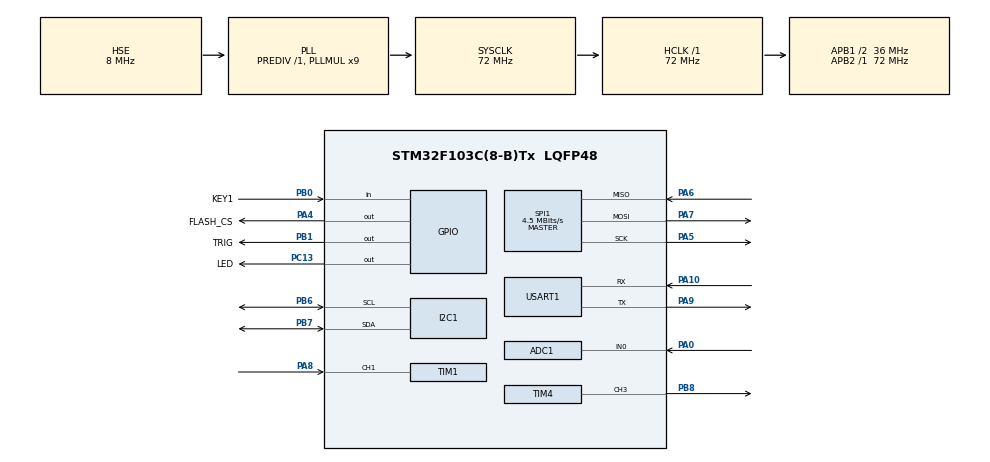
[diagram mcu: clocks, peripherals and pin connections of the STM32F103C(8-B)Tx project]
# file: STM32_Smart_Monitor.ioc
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ADC1.Channel-1\#ChannelRegularConversion=ADC_CHANNEL_0
ADC1.NbrOfConversionFlag=1
ADC1.Rank-1\#ChannelRegularConversion=1
ADC1.SamplingTime-1\#ChannelRegularConversion=ADC_SAMPLETIME_1CYCLE_5
ADC1.master=1
I2C1.I2C_Mode=I2C_Fast
Mcu.Family=STM32F1
Mcu.Name=STM32F103C(8-B)Tx
Mcu.Package=LQFP48
NVIC.PriorityGroup=NVIC_PRIORITYGROUP_4
NVIC.TIM1_CC_IRQn=true\:0\:0\:false\:false\:true\:true\:true\:true
NVIC.USART1_IRQn=true\:0\:0\:false\:false\:true\:true\:true\:true
PA0-WKUP.Signal=ADCx_IN0
PA10.Mode=Asynchronous
PA10.Signal=USART1_RX
PA13.Mode=Serial_Wire
PA13.Signal=SYS_JTMS-SWDIO
PA14.Mode=Serial_Wire
PA14.Signal=SYS_JTCK-SWCLK
PA4.GPIO_Label=FLASH_CS
PA4.PinState=GPIO_PIN_SET
PA4.Signal=GPIO_Output
PA5.Mode=Full_Duplex_Master
PA5.Signal=SPI1_SCK
PA6.Mode=Full_Duplex_Master
PA6.Signal=SPI1_MISO
PA7.Mode=Full_Duplex_Master
PA7.Signal=SPI1_MOSI
PA8.Signal=S_TIM1_CH1
PA9.Mode=Asynchronous
PA9.Signal=USART1_TX
PB0.GPIO_Label=KEY1
PB0.GPIO_PuPd=GPIO_PULLUP
PB0.Signal=GPIO_Input
PB1.GPIO_Label=TRIG
PB1.Signal=GPIO_Output
PB6.Mode=I2C
PB6.Signal=I2C1_SCL
PB7.Mode=I2C
PB7.Signal=I2C1_SDA
PB8.Signal=S_TIM4_CH3
PC13-TAMPER-RTC.GPIO_Label=LED
PC13-TAMPER-RTC.GPIO_ModeDefaultOutputPP=GPIO_MODE_OUTPUT_OD
PC13-TAMPER-RTC.GPIO_PuPd=GPIO_NOPULL
PC13-TAMPER-RTC.GPIO_Speed=GPIO_SPEED_FREQ_LOW
PC13-TAMPER-RTC.PinState=GPIO_PIN_SET
PC13-TAMPER-RTC.Signal=GPIO_Output
PD0-OSC_IN.Mode=HSE-External-Oscillator
PD0-OSC_IN.Signal=RCC_OSC_IN
PD1-OSC_OUT.Mode=HSE-External-Oscillator
PD1-OSC_OUT.Signal=RCC_OSC_OUT
ProjectManager.HeapSize=0x200
ProjectManager.StackSize=0x400
ProjectManager.TargetToolchain=MDK-ARM V5.32
RCC.ADCPresc=RCC_ADCPCLK2_DIV6
RCC.AHBFreq_Value=72000000
RCC.APB1CLKDivider=RCC_HCLK_DIV2
RCC.APB1Freq_Value=36000000
RCC.APB1TimFreq_Value=72000000
RCC.APB2Freq_Value=72000000
RCC.APB2TimFreq_Value=72000000
RCC.HCLKFreq_Value=72000000
RCC.PLLMUL=RCC_PLL_MUL9
RCC.PLLSourceVirtual=RCC_PLLSOURCE_HSE
RCC.SYSCLKFreq_VALUE=72000000
RCC.SYSCLKSource=RCC_SYSCLKSOURCE_PLLCLK
RCC.USBFreq_Value=72000000
SH.ADCx_IN0.0=ADC1_IN0,IN0
SH.S_TIM1_CH1.0=TIM1_CH1,Input_Capture1_from_TI1
SH.S_TIM4_CH3.0=TIM4_CH3,PWM Generation3 CH3
SPI1.BaudRatePrescaler=SPI_BAUDRATEPRESCALER_16
SPI1.CalculateBaudRate=4.5 MBits/s
SPI1.Direction=SPI_DIRECTION_2LINES
SPI1.Mode=SPI_MODE_MASTER
SPI1.VirtualType=VM_MASTER
TIM1.Channel-Input_Capture1_from_TI1=TIM_CHANNEL_1
TIM1.Channel-Input_Capture2_from_TI1_63=TIM_CHANNEL_2
TIM1.ICPolarity_CH2=TIM_INPUTCHANNELPOLARITY_FALLING
TIM1.Prescaler=71
TIM2.Prescaler=71
TIM4.Channel-PWM\ Generation3\ CH3=TIM_CHANNEL_3
TIM4.Period=499
TIM4.Prescaler=71
TIM4.Pulse-PWM\ Generation3\ CH3=250
USART1.VirtualMode=VM_ASYNC
VP_TIM1_VS_ClockSourceINT.Mode=Internal
VP_TIM1_VS_indirect_ch1.Mode=Input_Capture2_from_TI1_63
VP_TIM2_VS_ClockSourceINT.Mode=Internal
board=custom

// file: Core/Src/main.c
/* USER CODE BEGIN Header */
/**
  ******************************************************************************
  * @file           : main.c
  * @brief          : Main program body
  ******************************************************************************
  * @attention
  *
  * Copyright (c) 2026 STMicroelectronics.
  * All rights reserved.
  *
  * This software is licensed under terms that can be found in the LICENSE file
  * in the root directory of this software component.
  * If no LICENSE file comes with this software, it is provided AS-IS.
  *
  ******************************************************************************
  */
/* USER CODE END Header */
#include "main.h"

/* USER CODE BEGIN Includes */
#include "stdio.h"
#include "oled.h"
#include "ultrasonic.h"
#include "buzzer.h"
#include "w25qxx.h"
/* USER CODE END Includes */

/* USER CODE BEGIN PD */
#define FLASH_CONFIG_ADDR 0x000000
/* USER CODE END PD */

ADC_HandleTypeDef hadc1;

I2C_HandleTypeDef hi2c1;

SPI_HandleTypeDef hspi1;

TIM_HandleTypeDef htim1;
TIM_HandleTypeDef htim2;
TIM_HandleTypeDef htim4;

UART_HandleTypeDef huart1;

/* USER CODE BEGIN PV */
uint32_t last_debug_time = 0;
uint16_t distance_threshold = 30;
uint32_t last_ui_time = 0;
uint32_t last_ultrasonic_time = 0;
uint32_t last_distance_time = 0;
uint8_t  distance_valid = 0;
uint16_t last_distance = 0;
uint8_t  adc_valid = 0;
//超声波捕获变量
uint32_t ic_val1 = 0;
uint32_t ic_val2 = 0;
uint32_t echo_time = 0;
volatile uint16_t distance = 0;

uint8_t capturestate = 0;

//ADC变量
uint32_t last_adc_time = 0;
uint16_t light_value = 0;

uint16_t light_threshold = 3000;
uint8_t alarm_state;
/* USER CODE END PV */

void SystemClock_Config(void);
static void MX_GPIO_Init(void);
static void MX_I2C1_Init(void);
static void MX_USART1_UART_Init(void);
static void MX_ADC1_Init(void);
static void MX_TIM1_Init(void);
static void MX_TIM2_Init(void);
static void MX_TIM4_Init(void);
static void MX_SPI1_Init(void);
/* USER CODE BEGIN PFP */
void Save_Threshold(uint16_t threshold);
void Load_Threshold(void);
/* USER CODE END PFP */

/* USER CODE BEGIN 0 */
uint16_t ADC_ReadValue(void)
{
	uint16_t adc_value = 0;
	HAL_ADC_Start(&hadc1);
	HAL_ADC_PollForConversion(&hadc1,10);
	adc_value = HAL_ADC_GetValue(&hadc1);
	HAL_ADC_Stop(&hadc1);
	return adc_value;
}

uint16_t ADC_average(void)
{
	uint32_t sum = 0;
	for(uint8_t i =0 ; i < 8 ; i++)
 {
	 sum += ADC_ReadValue();
 }
 return sum / 8;
}

void Save_Threshold(uint16_t threshold)
{
    W25QXX_SectorErase(FLASH_CONFIG_ADDR);

    W25QXX_PageProgram(FLASH_CONFIG_ADDR,(uint8_t *)&threshold,sizeof(threshold));
}

void Load_Threshold(void)
{
    uint16_t temp = 0;

	  W25QXX_ReadData(FLASH_CONFIG_ADDR,(uint8_t *)&temp,sizeof(temp));

    if(temp != 0xFFFF)
    {
        distance_threshold = temp;
    }
}
/* USER CODE END 0 */

int main(void)
{

  /* MCU Configuration--------------------------------------------------------*/

  /* Reset of all peripherals, Initializes the Flash interface and the Systick. */
  HAL_Init();

  /* Configure the system clock */
  SystemClock_Config();

  /* Initialize all configured peripherals */
  MX_GPIO_Init();
  MX_I2C1_Init();
  MX_USART1_UART_Init();
  MX_ADC1_Init();
  MX_TIM1_Init();
  MX_TIM2_Init();
  MX_TIM4_Init();
  MX_SPI1_Init();
  /* USER CODE BEGIN 2 */
	OLED_Init();
	Buzzer_init();
	W25QXX_Init();
	//Load_Threshold();
	//OLED_WriteCommand(0xA5);
  OLED_WriteCommand(0xA4);
	OLED_Clear();
	OLED_ShowString(0, 0, "SMART MONITOR");
  OLED_ShowString(2, 0, "DIST");
  // OLED_ShowString(3, 0, "LIGHT");
  OLED_ShowString(5, 0, "ALARM OFF");

  char boot_msg[] = "System Boot OK!\r\n";
	HAL_UART_Transmit(&huart1,(uint8_t *)boot_msg,sizeof(boot_msg),HAL_MAX_DELAY);

	HAL_TIM_IC_Start_IT(&htim1,TIM_CHANNEL_1);
	HAL_TIM_IC_Start_IT(&htim1,TIM_CHANNEL_2);
	HAL_TIM_Base_Start(&htim2);

  /* USER CODE END 2 */

  /* Infinite loop */
  /* USER CODE BEGIN WHILE */
  while (1)
{
		uint32_t now = HAL_GetTick();
	  // 100ms启动1次超声波测距
	  if((now - last_ultrasonic_time) >= 100)
    {
			last_ultrasonic_time = now;
			Ultrasonic_Start();
		}

		if((now - last_debug_time) > 800)
    {
			 last_debug_time = now;
			 char debug_msg[] = "System Running";
			 HAL_UART_Transmit(&huart1,(uint8_t *)debug_msg,sizeof(debug_msg)-1,HAL_MAX_DELAY);
			 //HAL_GPIO_TogglePin(GPIOC,GPIO_PIN_13);
		 }

		 if((HAL_GPIO_ReadPin(KEY1_GPIO_Port,KEY1_Pin)) == GPIO_PIN_RESET)
      {
				HAL_Delay(20);
				if((HAL_GPIO_ReadPin(KEY1_GPIO_Port,KEY1_Pin)) == GPIO_PIN_RESET)
         {
					 distance_threshold += 10;
					 if(distance_threshold > 50)
            {
							distance_threshold = 20;
						}
					 Save_Threshold(distance_threshold);
					 char msg[50];
					 int len = sprintf(msg,"Threshold = %d cm\r\n",distance_threshold);
					 HAL_UART_Transmit(&huart1,(uint8_t *)msg,len,HAL_MAX_DELAY);
				 }
				 while((HAL_GPIO_ReadPin(KEY1_GPIO_Port,KEY1_Pin)) == GPIO_PIN_RESET)
          {
					}
			}

		if(now - last_adc_time >= 500)
    {
			last_adc_time = now;
			char msg[50];
			light_value = ADC_average();
			adc_valid = 1;
			// int len = sprintf(msg,"Light = %u \r\n",light_value);
			int len = sprintf(msg,"TIME=%u Light=%u\r\n",now,light_value);
			HAL_UART_Transmit(&huart1,(uint8_t *)msg,len,HAL_MAX_DELAY);
		}

		if(now - last_distance_time >= 500)
    {
			 last_distance_time = now;
			 char msg[50];
			 int len = sprintf(msg,"Distance = %u cm\r\n",distance);
			 HAL_UART_Transmit(&huart1,(uint8_t *)msg,len,HAL_MAX_DELAY);
		}
		alarm_state = 0;
		if(distance_valid)
		{
		 if(distance < distance_threshold)
      {
			 alarm_state = 0;
      }
     else
      {
			 alarm_state = 1;
      }
	  }
		if(adc_valid)
	  {
		 if(light_value > light_threshold)
     {
			 alarm_state = 1;
		 }
	  }
		if(alarm_state)
    {
			HAL_GPIO_WritePin(GPIOC,GPIO_PIN_13,GPIO_PIN_RESET);
			Buzzer_on();
		}
		else
    {
			HAL_GPIO_WritePin(GPIOC,GPIO_PIN_13,GPIO_PIN_SET);
			Buzzer_off();
		}

		// OLED部分显示模块
		if((now - last_ui_time) > 500)
			{ // 显示距离及阈值
			 last_ui_time = now;
			 char buffer[20];
	     sprintf(buffer,"LIMIT %d",distance_threshold);
	     OLED_ShowString(4,0,buffer);
			 if(distance != last_distance)
			 {
				last_distance = distance;
			  sprintf(buffer,"DISTANCE %4u",distance);
			  OLED_ShowString(1,0,buffer);
			 }
				// 显示光强
			 char oled_msg [20];
			 sprintf(oled_msg,"LIGHT %4u",light_value);
			 OLED_ShowString(3,0,oled_msg);
		 }
    /* USER CODE END WHILE */

		}
}

void SystemClock_Config(void)
{
  RCC_OscInitTypeDef RCC_OscInitStruct = {0};
  RCC_ClkInitTypeDef RCC_ClkInitStruct = {0};
  RCC_PeriphCLKInitTypeDef PeriphClkInit = {0};

  /** Initializes the RCC Oscillators according to the specified parameters
  * in the RCC_OscInitTypeDef structure.
  */
  RCC_OscInitStruct.OscillatorType = RCC_OSCILLATORTYPE_HSE;
  RCC_OscInitStruct.HSEState = RCC_HSE_ON;
  RCC_OscInitStruct.HSEPredivValue = RCC_HSE_PREDIV_DIV1;
  RCC_OscInitStruct.HSIState = RCC_HSI_ON;
  RCC_OscInitStruct.PLL.PLLState = RCC_PLL_ON;
  RCC_OscInitStruct.PLL.PLLSource = RCC_PLLSOURCE_HSE;
  RCC_OscInitStruct.PLL.PLLMUL = RCC_PLL_MUL9;
  if (HAL_RCC_OscConfig(&RCC_OscInitStruct) != HAL_OK)
  {
    Error_Handler();
  }

  /** Initializes the CPU, AHB and APB buses clocks
  */
  RCC_ClkInitStruct.ClockType = RCC_CLOCKTYPE_HCLK|RCC_CLOCKTYPE_SYSCLK
                              |RCC_CLOCKTYPE_PCLK1|RCC_CLOCKTYPE_PCLK2;
  RCC_ClkInitStruct.SYSCLKSource = RCC_SYSCLKSOURCE_PLLCLK;
  RCC_ClkInitStruct.AHBCLKDivider = RCC_SYSCLK_DIV1;
  RCC_ClkInitStruct.APB1CLKDivider = RCC_HCLK_DIV2;
  RCC_ClkInitStruct.APB2CLKDivider = RCC_HCLK_DIV1;

  if (HAL_RCC_ClockConfig(&RCC_ClkInitStruct, FLASH_LATENCY_2) != HAL_OK)
  {
    Error_Handler();
  }
  PeriphClkInit.PeriphClockSelection = RCC_PERIPHCLK_ADC;
  PeriphClkInit.AdcClockSelection = RCC_ADCPCLK2_DIV6;
  if (HAL_RCCEx_PeriphCLKConfig(&PeriphClkInit) != HAL_OK)
  {
    Error_Handler();
  }
}

static void MX_ADC1_Init(void)
{

  ADC_ChannelConfTypeDef sConfig = {0};

  /** Common config
  */
  hadc1.Instance = ADC1;
  hadc1.Init.ScanConvMode = ADC_SCAN_DISABLE;
  hadc1.Init.ContinuousConvMode = DISABLE;
  hadc1.Init.DiscontinuousConvMode = DISABLE;
  hadc1.Init.ExternalTrigConv = ADC_SOFTWARE_START;
  hadc1.Init.DataAlign = ADC_DATAALIGN_RIGHT;
  hadc1.Init.NbrOfConversion = 1;
  if (HAL_ADC_Init(&hadc1) != HAL_OK)
  {
    Error_Handler();
  }

  /** Configure Regular Channel
  */
  sConfig.Channel = ADC_CHANNEL_0;
  sConfig.Rank = ADC_REGULAR_RANK_1;
  sConfig.SamplingTime = ADC_SAMPLETIME_1CYCLE_5;
  if (HAL_ADC_ConfigChannel(&hadc1, &sConfig) != HAL_OK)
  {
    Error_Handler();
  }

}

static void MX_I2C1_Init(void)
{

  hi2c1.Instance = I2C1;
  hi2c1.Init.ClockSpeed = 400000;
  hi2c1.Init.DutyCycle = I2C_DUTYCYCLE_2;
  hi2c1.Init.OwnAddress1 = 0;
  hi2c1.Init.AddressingMode = I2C_ADDRESSINGMODE_7BIT;
  hi2c1.Init.DualAddressMode = I2C_DUALADDRESS_DISABLE;
  hi2c1.Init.OwnAddress2 = 0;
  hi2c1.Init.GeneralCallMode = I2C_GENERALCALL_DISABLE;
  hi2c1.Init.NoStretchMode = I2C_NOSTRETCH_DISABLE;
  if (HAL_I2C_Init(&hi2c1) != HAL_OK)
  {
    Error_Handler();
  }

}

static void MX_SPI1_Init(void)
{

  /* SPI1 parameter configuration*/
  hspi1.Instance = SPI1;
  hspi1.Init.Mode = SPI_MODE_MASTER;
  hspi1.Init.Direction = SPI_DIRECTION_2LINES;
  hspi1.Init.DataSize = SPI_DATASIZE_8BIT;
  hspi1.Init.CLKPolarity = SPI_POLARITY_LOW;
  hspi1.Init.CLKPhase = SPI_PHASE_1EDGE;
  hspi1.Init.NSS = SPI_NSS_SOFT;
  hspi1.Init.BaudRatePrescaler = SPI_BAUDRATEPRESCALER_16;
  hspi1.Init.FirstBit = SPI_FIRSTBIT_MSB;
  hspi1.Init.TIMode = SPI_TIMODE_DISABLE;
  hspi1.Init.CRCCalculation = SPI_CRCCALCULATION_DISABLE;
  hspi1.Init.CRCPolynomial = 10;
  if (HAL_SPI_Init(&hspi1) != HAL_OK)
  {
    Error_Handler();
  }

}

static void MX_TIM1_Init(void)
{

  TIM_ClockConfigTypeDef sClockSourceConfig = {0};
  TIM_MasterConfigTypeDef sMasterConfig = {0};
  TIM_IC_InitTypeDef sConfigIC = {0};

  htim1.Instance = TIM1;
  htim1.Init.Prescaler = 71;
  htim1.Init.CounterMode = TIM_COUNTERMODE_UP;
  htim1.Init.Period = 65535;
  htim1.Init.ClockDivision = TIM_CLOCKDIVISION_DIV1;
  htim1.Init.RepetitionCounter = 0;
  htim1.Init.AutoReloadPreload = TIM_AUTORELOAD_PRELOAD_DISABLE;
  if (HAL_TIM_Base_Init(&htim1) != HAL_OK)
  {
    Error_Handler();
  }
  sClockSourceConfig.ClockSource = TIM_CLOCKSOURCE_INTERNAL;
  if (HAL_TIM_ConfigClockSource(&htim1, &sClockSourceConfig) != HAL_OK)
  {
    Error_Handler();
  }
  if (HAL_TIM_IC_Init(&htim1) != HAL_OK)
  {
    Error_Handler();
  }
  sMasterConfig.MasterOutputTrigger = TIM_TRGO_RESET;
  sMasterConfig.MasterSlaveMode = TIM_MASTERSLAVEMODE_DISABLE;
  if (HAL_TIMEx_MasterConfigSynchronization(&htim1, &sMasterConfig) != HAL_OK)
  {
    Error_Handler();
  }
  sConfigIC.ICPolarity = TIM_INPUTCHANNELPOLARITY_RISING;
  sConfigIC.ICSelection = TIM_ICSELECTION_DIRECTTI;
  sConfigIC.ICPrescaler = TIM_ICPSC_DIV1;
  sConfigIC.ICFilter = 0;
  if (HAL_TIM_IC_ConfigChannel(&htim1, &sConfigIC, TIM_CHANNEL_1) != HAL_OK)
  {
    Error_Handler();
  }
  sConfigIC.ICPolarity = TIM_INPUTCHANNELPOLARITY_FALLING;
  sConfigIC.ICSelection = TIM_ICSELECTION_INDIRECTTI;
  if (HAL_TIM_IC_ConfigChannel(&htim1, &sConfigIC, TIM_CHANNEL_2) != HAL_OK)
  {
    Error_Handler();
  }

}

static void MX_TIM2_Init(void)
{

  TIM_ClockConfigTypeDef sClockSourceConfig = {0};
  TIM_MasterConfigTypeDef sMasterConfig = {0};

  htim2.Instance = TIM2;
  htim2.Init.Prescaler = 71;
  htim2.Init.CounterMode = TIM_COUNTERMODE_UP;
  htim2.Init.Period = 65535;
  htim2.Init.ClockDivision = TIM_CLOCKDIVISION_DIV1;
  htim2.Init.AutoReloadPreload = TIM_AUTORELOAD_PRELOAD_DISABLE;
  if (HAL_TIM_Base_Init(&htim2) != HAL_OK)
  {
    Error_Handler();
  }
  sClockSourceConfig.ClockSource = TIM_CLOCKSOURCE_INTERNAL;
  if (HAL_TIM_ConfigClockSource(&htim2, &sClockSourceConfig) != HAL_OK)
  {
    Error_Handler();
  }
  sMasterConfig.MasterOutputTrigger = TIM_TRGO_RESET;
  sMasterConfig.MasterSlaveMode = TIM_MASTERSLAVEMODE_DISABLE;
  if (HAL_TIMEx_MasterConfigSynchronization(&htim2, &sMasterConfig) != HAL_OK)
  {
    Error_Handler();
  }

}

static void MX_TIM4_Init(void)
{

  TIM_MasterConfigTypeDef sMasterConfig = {0};
  TIM_OC_InitTypeDef sConfigOC = {0};

  htim4.Instance = TIM4;
  htim4.Init.Prescaler = 71;
  htim4.Init.CounterMode = TIM_COUNTERMODE_UP;
  htim4.Init.Period = 499;
  htim4.Init.ClockDivision = TIM_CLOCKDIVISION_DIV1;
  htim4.Init.AutoReloadPreload = TIM_AUTORELOAD_PRELOAD_DISABLE;
  if (HAL_TIM_PWM_Init(&htim4) != HAL_OK)
  {
    Error_Handler();
  }
  sMasterConfig.MasterOutputTrigger = TIM_TRGO_RESET;
  sMasterConfig.MasterSlaveMode = TIM_MASTERSLAVEMODE_DISABLE;
  if (HAL_TIMEx_MasterConfigSynchronization(&htim4, &sMasterConfig) != HAL_OK)
  {
    Error_Handler();
  }
  sConfigOC.OCMode = TIM_OCMODE_PWM1;
  sConfigOC.Pulse = 250;
  sConfigOC.OCPolarity = TIM_OCPOLARITY_HIGH;
  sConfigOC.OCFastMode = TIM_OCFAST_DISABLE;
  if (HAL_TIM_PWM_ConfigChannel(&htim4, &sConfigOC, TIM_CHANNEL_3) != HAL_OK)
  {
    Error_Handler();
  }
  HAL_TIM_MspPostInit(&htim4);

}

static void MX_USART1_UART_Init(void)
{

  huart1.Instance = USART1;
  huart1.Init.BaudRate = 115200;
  huart1.Init.WordLength = UART_WORDLENGTH_8B;
  huart1.Init.StopBits = UART_STOPBITS_1;
  huart1.Init.Parity = UART_PARITY_NONE;
  huart1.Init.Mode = UART_MODE_TX_RX;
  huart1.Init.HwFlowCtl = UART_HWCONTROL_NONE;
  huart1.Init.OverSampling = UART_OVERSAMPLING_16;
  if (HAL_UART_Init(&huart1) != HAL_OK)
  {
    Error_Handler();
  }

}

static void MX_GPIO_Init(void)
{
  GPIO_InitTypeDef GPIO_InitStruct = {0};

  /* GPIO Ports Clock Enable */
  __HAL_RCC_GPIOC_CLK_ENABLE();
  __HAL_RCC_GPIOD_CLK_ENABLE();
  __HAL_RCC_GPIOA_CLK_ENABLE();
  __HAL_RCC_GPIOB_CLK_ENABLE();

  /*Configure GPIO pin Output Level */
  HAL_GPIO_WritePin(LED_GPIO_Port, LED_Pin, GPIO_PIN_SET);

  /*Configure GPIO pin Output Level */
  HAL_GPIO_WritePin(FLASH_CS_GPIO_Port, FLASH_CS_Pin, GPIO_PIN_SET);

  /*Configure GPIO pin Output Level */
  HAL_GPIO_WritePin(TRIG_GPIO_Port, TRIG_Pin, GPIO_PIN_RESET);

  /*Configure GPIO pin : LED_Pin */
  GPIO_InitStruct.Pin = LED_Pin;
  GPIO_InitStruct.Mode = GPIO_MODE_OUTPUT_OD;
  GPIO_InitStruct.Pull = GPIO_NOPULL;
  GPIO_InitStruct.Speed = GPIO_SPEED_FREQ_LOW;
  HAL_GPIO_Init(LED_GPIO_Port, &GPIO_InitStruct);

  /*Configure GPIO pin : FLASH_CS_Pin */
  GPIO_InitStruct.Pin = FLASH_CS_Pin;
  GPIO_InitStruct.Mode = GPIO_MODE_OUTPUT_PP;
  GPIO_InitStruct.Pull = GPIO_NOPULL;
  GPIO_InitStruct.Speed = GPIO_SPEED_FREQ_LOW;
  HAL_GPIO_Init(FLASH_CS_GPIO_Port, &GPIO_InitStruct);

  /*Configure GPIO pin : KEY1_Pin */
  GPIO_InitStruct.Pin = KEY1_Pin;
  GPIO_InitStruct.Mode = GPIO_MODE_INPUT;
  GPIO_InitStruct.Pull = GPIO_PULLUP;
  HAL_GPIO_Init(KEY1_GPIO_Port, &GPIO_InitStruct);

  /*Configure GPIO pin : TRIG_Pin */
  GPIO_InitStruct.Pin = TRIG_Pin;
  GPIO_InitStruct.Mode = GPIO_MODE_OUTPUT_PP;
  GPIO_InitStruct.Pull = GPIO_NOPULL;
  GPIO_InitStruct.Speed = GPIO_SPEED_FREQ_LOW;
  HAL_GPIO_Init(TRIG_GPIO_Port, &GPIO_InitStruct);

}

/* USER CODE BEGIN 4 */
void HAL_TIM_IC_CaptureCallback(TIM_HandleTypeDef *htim)
{
	if(htim->Instance == TIM1)
  {
		if(htim->Channel == HAL_TIM_ACTIVE_CHANNEL_1)
    {
			ic_val1 = HAL_TIM_ReadCapturedValue(htim,TIM_CHANNEL_1);
			capturestate = 1;
		}
		else if(htim->Channel == HAL_TIM_ACTIVE_CHANNEL_2)
    {
			if(capturestate == 1)
		 {
			ic_val2 = HAL_TIM_ReadCapturedValue(htim,TIM_CHANNEL_2);
			if(ic_val2 > ic_val1)
			{
			 echo_time = ic_val2 - ic_val1;
			 uint32_t temp_distance = echo_time / 58;
			 if(temp_distance <= 400)
				{
					distance = temp_distance;

					distance_valid = 1;
				}
			 capturestate = 0;
			}
		 }
		}
	}
}
/* USER CODE END 4 */

void Error_Handler(void)
{
  __disable_irq();
  while (1)
  {
  }
}
